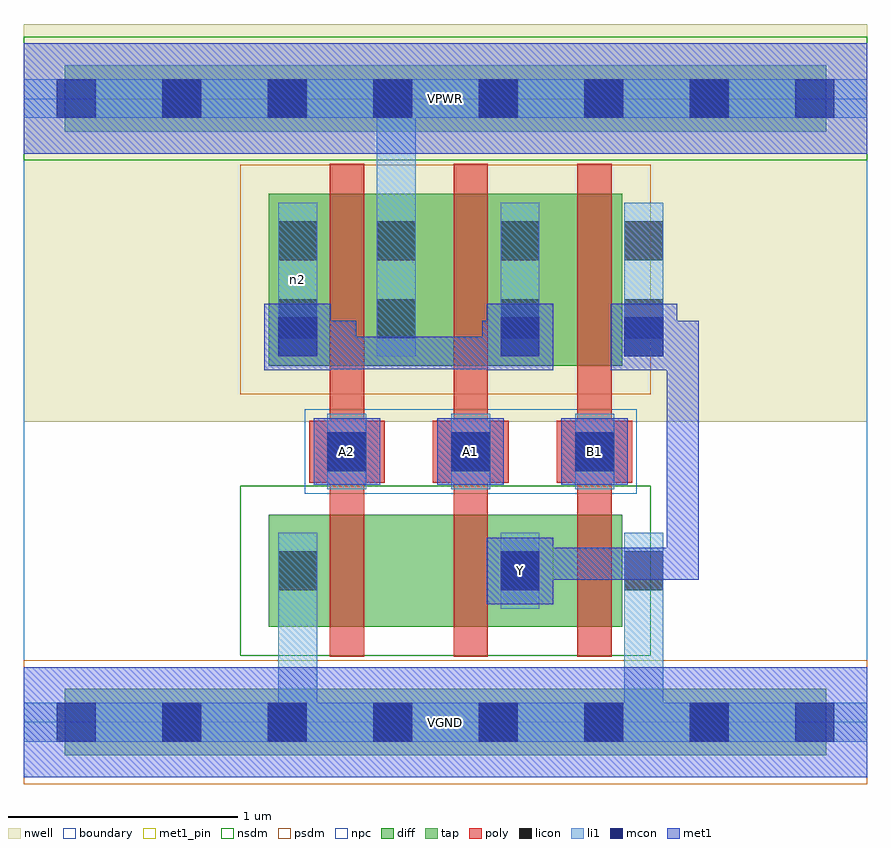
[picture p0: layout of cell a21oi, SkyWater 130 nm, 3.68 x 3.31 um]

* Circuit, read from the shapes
.subckt a21oi A1 A2 B1 VGND VPWR Y n2
XM1 n1 A2 VGND VGND sky130_fd_pr__nfet_01v8 w=0.49 l=0.15
XM2 Y A1 n1 VGND sky130_fd_pr__nfet_01v8 w=0.49 l=0.15
XM3 n3 B1 Y VGND sky130_fd_pr__nfet_01v8 w=0.49 l=0.15
XM4 VPWR A2 n2 VPWR sky130_fd_pr__pfet_01v8 w=0.75 l=0.15
XM5 n2 A1 VPWR VPWR sky130_fd_pr__pfet_01v8 w=0.75 l=0.15
XM6 n4 B1 n2 VPWR sky130_fd_pr__pfet_01v8 w=0.75 l=0.15
.ends

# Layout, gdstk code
import gdstk
lib = gdstk.Library(unit=1e-6, precision=1e-09)
def R(c, l, rs):  # rectangles x0, y0, x1, y1
    for r in rs: c.add(gdstk.rectangle(r[:2], r[2:], *l))
def A(c, l, x, y, w, h, nx, ny, dx, dy):  # array of equal rectangles
    R(c, l, [(x+i*dx, y+j*dy, x+i*dx+w, y+j*dy+h) for i in range(nx) for j in range(ny)])
nwell = (64, 20)
diff = (65, 20)
tap = (65, 44)
poly = (66, 20)
licon = (66, 44)
li1 = (67, 20)
mcon = (67, 44)
met1_pin = (68, 16)
met1 = (68, 20)
nsdm = (93, 44)
psdm = (94, 20)
npc = (95, 20)
boundary = (235, 4)

a21oi = lib.new_cell('a21oi')
R(a21oi, nwell, [(0,1.31,3.68,3.045)])
R(a21oi, diff, [(1.07,0.415,2.61,0.905), (1.07,1.555,2.61,2.305)])
R(a21oi, tap, [(0.18,-0.145,3.5,0.145), (0.18,2.575,3.5,2.865)])
A(a21oi, poly, 1.335, 0.285, 0.15, 2.15, 3, 1, 0.54, 0)
A(a21oi, poly, 1.245, 1.045, 0.33, 0.27, 3, 1, 0.54, 0)
A(a21oi, licon, 0.605, -0.085, 0.17, 0.17, 6, 2, 0.46, 2.72)
A(a21oi, licon, 1.325, 1.095, 0.17, 0.17, 3, 1, 0.54, 0)
A(a21oi, licon, 1.54, 1.675, 0.17, 0.17, 3, 2, 0.54, 0.34)
R(a21oi, licon, [(1.11,0.575,1.28,0.745), (2.08,0.575,2.25,0.745), (2.62,0.575,2.79,0.745), (1.11,1.675,1.28,1.845), (1.11,2.015,1.28,2.185)])
A(a21oi, li1, 1.325, 1.015, 0.17, 0.33, 3, 1, 0.54, 0)
A(a21oi, li1, 1.54, 1.595, 0.17, 0.67, 3, 1, 0.54, 0)
R(a21oi, li1, [(0,-0.085,3.68,0.085), (1.11,-0.085,1.28,0.825), (2.62,-0.085,2.79,0.825), (1.11,0.495,1.28,0.825), (2.08,0.495,2.25,0.825), (2.62,0.495,2.79,0.825), (1.11,1.595,1.28,2.265), (1.54,1.595,1.71,2.805), (0,2.635,3.68,2.805)])
A(a21oi, mcon, 0.145, -0.085, 0.17, 0.17, 8, 2, 0.46, 2.72)
A(a21oi, mcon, 1.325, 1.095, 0.17, 0.17, 3, 1, 0.54, 0)
R(a21oi, mcon, [(2.08,0.575,2.25,0.745), (1.11,1.595,1.28,1.765), (2.08,1.595,2.25,1.765), (2.62,1.595,2.79,1.765)])
A(a21oi, met1_pin, 1.265, 1.035, 0.29, 0.29, 3, 1, 0.54, 0)
R(a21oi, met1_pin, [(0,-0.24,3.68,0.24), (2.02,0.515,2.31,0.805), (0,2.48,3.68,2.96)])
A(a21oi, met1, 1.265, 1.035, 0.29, 0.29, 3, 1, 0.54, 0)
R(a21oi, met1, [(0,-0.24,3.68,0.24), (2.02,0.515,2.31,0.805), (2.115,0.62,2.945,0.76), (2.115,0.62,2.255,0.76), (2.805,0.62,2.945,1.565), (2.805,1.425,2.945,1.75), (1.05,1.535,1.34,1.825), (2.02,1.535,2.31,1.825), (2.56,1.535,2.85,1.825), (1.31,1.54,1.45,1.75), (1.31,1.54,2.14,1.68), (2,1.54,2.14,1.75), (1.125,1.61,1.45,1.75), (2,1.61,2.235,1.75), (2.635,1.61,2.945,1.75), (0,2.48,3.68,2.96)])
R(a21oi, nsdm, [(0.945,0.29,2.735,1.03), (0,2.45,3.68,2.99)])
R(a21oi, psdm, [(0,-0.27,3.68,0.27), (0.945,1.43,2.735,2.43)])
R(a21oi, npc, [(1.225,0.995,2.675,1.365)])
R(a21oi, boundary, [(0,0,3.68,2.72)])
a21oi.add(gdstk.Label('n2', (1.195,1.93), layer=67, texttype=5))
a21oi.add(gdstk.Label('A1', (1.95,1.18), layer=68, texttype=5))
a21oi.add(gdstk.Label('A2', (1.41,1.18), layer=68, texttype=5))
a21oi.add(gdstk.Label('B1', (2.49,1.18), layer=68, texttype=5))
a21oi.add(gdstk.Label('Y', (2.165,0.66), layer=68, texttype=5))
a21oi.add(gdstk.Label('VPWR', (1.84,2.72), layer=68, texttype=5))
a21oi.add(gdstk.Label('VGND', (1.84,0), layer=68, texttype=5))
a21oi.add(gdstk.Label('A1', (1.95,1.18), layer=68, texttype=16))
a21oi.add(gdstk.Label('A2', (1.41,1.18), layer=68, texttype=16))
a21oi.add(gdstk.Label('B1', (2.49,1.18), layer=68, texttype=16))
a21oi.add(gdstk.Label('Y', (2.165,0.66), layer=68, texttype=16))
a21oi.add(gdstk.Label('VPWR', (1.84,2.72), layer=68, texttype=16))
a21oi.add(gdstk.Label('VGND', (1.84,0), layer=68, texttype=16))

lib.write_gds('a21oi.gds')
